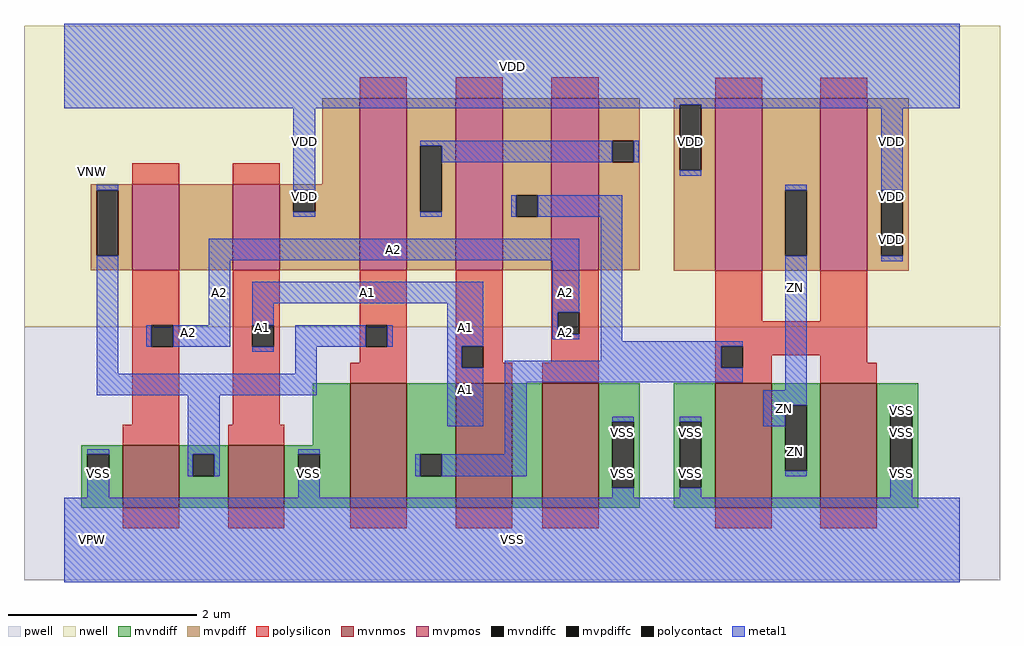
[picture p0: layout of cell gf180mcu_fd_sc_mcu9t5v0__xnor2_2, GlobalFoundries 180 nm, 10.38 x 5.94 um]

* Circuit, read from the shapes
.subckt gf180mcu_fd_sc_mcu9t5v0__xnor2_2 A1 A2 ZN VDD VNW VPW VSS
XM1 n1 A2 VSS VPW nfet_06v0 w=0.66u l=0.6u
XM2 VSS A1 n1 VPW nfet_06v0 w=0.66u l=0.6u
XM3 n2 n1 VSS VPW nfet_06v0 w=1.32u l=0.6u
XM4 n3 A1 n2 VPW nfet_06v0 w=1.32u l=0.6u
XM5 VSS A2 n3 VPW nfet_06v0 w=1.32u l=0.6u
XM6 ZN n2 VSS VPW nfet_06v0 w=1.32u l=0.6u m=2
XM7 n4 A2 n1 VNW pfet_06v0 w=0.915u l=0.5u
XM8 VDD A1 n4 VNW pfet_06v0 w=0.915u l=0.5u
XM9 n5 n1 VDD VNW pfet_06v0 w=1.83u l=0.5u
XM10 n2 A1 n5 VNW pfet_06v0 w=1.83u l=0.5u
XM11 n5 A2 n2 VNW pfet_06v0 w=1.83u l=0.5u
XM12 ZN n2 VDD VNW pfet_06v0 w=1.83u l=0.5u m=2
.ends

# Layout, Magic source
magic
tech gf180mcuD
magscale 1 10
<< nwell >>
rect -86 453 1990 1094
<< pwell >>
rect -86 -86 1990 453
<< mvnmos >>
rect 124 69 244 201
rect 348 69 468 201
rect 608 69 728 333
rect 832 69 952 333
rect 1016 69 1136 333
rect 1384 69 1504 333
rect 1608 69 1728 333
<< mvpmos >>
rect 144 574 244 757
rect 358 574 458 757
rect 628 574 728 940
rect 832 574 932 940
rect 1036 574 1136 940
rect 1384 573 1484 939
rect 1608 573 1708 939
<< mvndiff >>
rect 528 201 608 333
rect 36 182 124 201
rect 36 136 49 182
rect 95 136 124 182
rect 36 69 124 136
rect 244 182 348 201
rect 244 136 273 182
rect 319 136 348 182
rect 244 69 348 136
rect 468 182 608 201
rect 468 136 497 182
rect 543 136 608 182
rect 468 69 608 136
rect 728 182 832 333
rect 728 136 757 182
rect 803 136 832 182
rect 728 69 832 136
rect 952 69 1016 333
rect 1136 251 1224 333
rect 1136 111 1165 251
rect 1211 111 1224 251
rect 1136 69 1224 111
rect 1296 251 1384 333
rect 1296 111 1309 251
rect 1355 111 1384 251
rect 1296 69 1384 111
rect 1504 287 1608 333
rect 1504 147 1533 287
rect 1579 147 1608 287
rect 1504 69 1608 147
rect 1728 276 1816 333
rect 1728 136 1757 276
rect 1803 136 1816 276
rect 1728 69 1816 136
<< mvpdiff >>
rect 548 757 628 940
rect 56 744 144 757
rect 56 604 69 744
rect 115 604 144 744
rect 56 574 144 604
rect 244 574 358 757
rect 458 744 628 757
rect 458 698 487 744
rect 533 698 628 744
rect 458 574 628 698
rect 728 838 832 940
rect 728 698 757 838
rect 803 698 832 838
rect 728 574 832 698
rect 932 733 1036 940
rect 932 687 961 733
rect 1007 687 1036 733
rect 932 574 1036 687
rect 1136 849 1224 940
rect 1136 803 1165 849
rect 1211 803 1224 849
rect 1136 574 1224 803
rect 1296 926 1384 939
rect 1296 786 1309 926
rect 1355 786 1384 926
rect 1296 573 1384 786
rect 1484 744 1608 939
rect 1484 604 1533 744
rect 1579 604 1608 744
rect 1484 573 1608 604
rect 1708 744 1796 939
rect 1708 604 1737 744
rect 1783 604 1796 744
rect 1708 573 1796 604
<< mvndiffc >>
rect 49 136 95 182
rect 273 136 319 182
rect 497 136 543 182
rect 757 136 803 182
rect 1165 111 1211 251
rect 1309 111 1355 251
rect 1533 147 1579 287
rect 1757 136 1803 276
<< mvpdiffc >>
rect 69 604 115 744
rect 487 698 533 744
rect 757 698 803 838
rect 961 687 1007 733
rect 1165 803 1211 849
rect 1309 786 1355 926
rect 1533 604 1579 744
rect 1737 604 1783 744
<< polysilicon >>
rect 628 940 728 984
rect 832 940 932 984
rect 1036 940 1136 984
rect 144 757 244 801
rect 358 757 458 801
rect 1384 939 1484 983
rect 1608 939 1708 983
rect 144 457 244 574
rect 144 411 185 457
rect 231 411 244 457
rect 144 245 244 411
rect 358 457 458 574
rect 358 411 399 457
rect 445 411 458 457
rect 358 245 458 411
rect 628 457 728 574
rect 628 411 641 457
rect 687 411 728 457
rect 628 377 728 411
rect 608 333 728 377
rect 832 412 932 574
rect 832 366 845 412
rect 891 377 932 412
rect 1036 484 1136 574
rect 1036 438 1049 484
rect 1095 438 1136 484
rect 1036 377 1136 438
rect 891 366 952 377
rect 832 333 952 366
rect 1016 333 1136 377
rect 1384 465 1484 573
rect 1608 465 1708 573
rect 1384 412 1708 465
rect 1384 366 1397 412
rect 1443 393 1708 412
rect 1443 366 1504 393
rect 1384 333 1504 366
rect 1608 377 1708 393
rect 1608 333 1728 377
rect 124 201 244 245
rect 348 201 468 245
rect 124 25 244 69
rect 348 25 468 69
rect 608 25 728 69
rect 832 25 952 69
rect 1016 25 1136 69
rect 1384 25 1504 69
rect 1608 25 1728 69
<< polycontact >>
rect 185 411 231 457
rect 399 411 445 457
rect 641 411 687 457
rect 845 366 891 412
rect 1049 438 1095 484
rect 1397 366 1443 412
<< metal1 >>
rect 0 926 1904 1098
rect 0 918 1309 926
rect 69 744 115 755
rect 487 744 533 918
rect 487 687 533 698
rect 757 838 1165 849
rect 803 803 1165 838
rect 1211 803 1222 849
rect 1355 918 1904 926
rect 1309 775 1355 786
rect 1533 744 1579 755
rect 757 687 803 698
rect 950 687 961 733
rect 1007 687 1187 733
rect 69 354 115 604
rect 307 595 1095 641
rect 307 457 353 595
rect 174 411 185 457
rect 231 411 353 457
rect 399 503 891 549
rect 399 457 445 503
rect 399 400 445 411
rect 491 411 641 457
rect 687 411 698 457
rect 814 412 891 503
rect 1038 484 1095 595
rect 1038 438 1049 484
rect 1038 427 1095 438
rect 491 354 537 411
rect 69 308 537 354
rect 814 366 845 412
rect 1141 423 1187 687
rect 1141 412 1443 423
rect 1141 381 1397 412
rect 49 182 95 193
rect 262 182 330 308
rect 814 242 891 366
rect 937 366 1397 381
rect 937 335 1443 366
rect 262 136 273 182
rect 319 136 330 182
rect 497 182 543 193
rect 937 182 983 335
rect 1533 318 1579 604
rect 1737 744 1783 918
rect 1737 593 1783 604
rect 1486 287 1579 318
rect 746 136 757 182
rect 803 136 983 182
rect 1165 251 1211 262
rect 49 90 95 136
rect 497 90 543 136
rect 1165 90 1211 111
rect 1309 251 1355 262
rect 1486 242 1533 287
rect 1533 136 1579 147
rect 1757 276 1803 287
rect 1309 90 1355 111
rect 1757 90 1803 136
rect 0 -90 1904 90
<< labels >>
flabel metal1 s 399 503 891 549 0 FreeSans 200 0 0 0 A1
port 1 nsew default input
flabel metal1 s 307 595 1095 641 0 FreeSans 200 0 0 0 A2
port 2 nsew default input
flabel metal1 s 0 918 1904 1098 0 FreeSans 200 0 0 0 VDD
port 4 nsew power bidirectional abutment
flabel metal1 s 1757 262 1803 287 0 FreeSans 200 0 0 0 VSS
port 7 nsew ground bidirectional abutment
flabel metal1 s 1533 318 1579 755 0 FreeSans 200 0 0 0 ZN
port 3 nsew default output
flabel nwell s 10 734 110 834 0 FreeSans 400 0 0 0 VNW
port 5 nsew power bidirectional
flabel pwell s 10 -50 110 50 0 FreeSans 400 0 0 0 VPW
port 6 nsew ground bidirectional
rlabel metal1 s 814 400 891 503 1 A1
port 1 nsew default input
rlabel metal1 s 399 400 445 503 1 A1
port 1 nsew default input
rlabel metal1 s 814 242 891 400 1 A1
port 1 nsew default input
rlabel metal1 s 1038 457 1095 595 1 A2
port 2 nsew default input
rlabel metal1 s 307 457 353 595 1 A2
port 2 nsew default input
rlabel metal1 s 1038 427 1095 457 1 A2
port 2 nsew default input
rlabel metal1 s 174 427 353 457 1 A2
port 2 nsew default input
rlabel metal1 s 174 411 353 427 1 A2
port 2 nsew default input
rlabel metal1 s 1486 242 1579 318 1 ZN
port 3 nsew default output
rlabel metal1 s 1533 136 1579 242 1 ZN
port 3 nsew default output
rlabel metal1 s 1737 775 1783 918 1 VDD
port 4 nsew power bidirectional abutment
rlabel metal1 s 1309 775 1355 918 1 VDD
port 4 nsew power bidirectional abutment
rlabel metal1 s 487 775 533 918 1 VDD
port 4 nsew power bidirectional abutment
rlabel metal1 s 1737 687 1783 775 1 VDD
port 4 nsew power bidirectional abutment
rlabel metal1 s 487 687 533 775 1 VDD
port 4 nsew power bidirectional abutment
rlabel metal1 s 1737 593 1783 687 1 VDD
port 4 nsew power bidirectional abutment
rlabel metal1 s 1757 193 1803 262 1 VSS
port 7 nsew ground bidirectional abutment
rlabel metal1 s 1309 193 1355 262 1 VSS
port 7 nsew ground bidirectional abutment
rlabel metal1 s 1165 193 1211 262 1 VSS
port 7 nsew ground bidirectional abutment
rlabel metal1 s 1757 90 1803 193 1 VSS
port 7 nsew ground bidirectional abutment
rlabel metal1 s 1309 90 1355 193 1 VSS
port 7 nsew ground bidirectional abutment
rlabel metal1 s 1165 90 1211 193 1 VSS
port 7 nsew ground bidirectional abutment
rlabel metal1 s 497 90 543 193 1 VSS
port 7 nsew ground bidirectional abutment
rlabel metal1 s 49 90 95 193 1 VSS
port 7 nsew ground bidirectional abutment
rlabel metal1 s 0 -90 1904 90 1 VSS
port 7 nsew ground bidirectional abutment
<< properties >>
string FIXED_BBOX 0 0 1904 1008
string GDS_END 454792
string GDS_FILE $PDKPATH/libs.ref/gf180mcu_fd_sc_mcu9t5v0/gds/gf180mcu_fd_sc_mcu9t5v0.gds
string GDS_START 449684
string LEFclass core
string LEFsite GF018hv5v_green_sc9
string LEFsymmetry X Y
<< end >>
